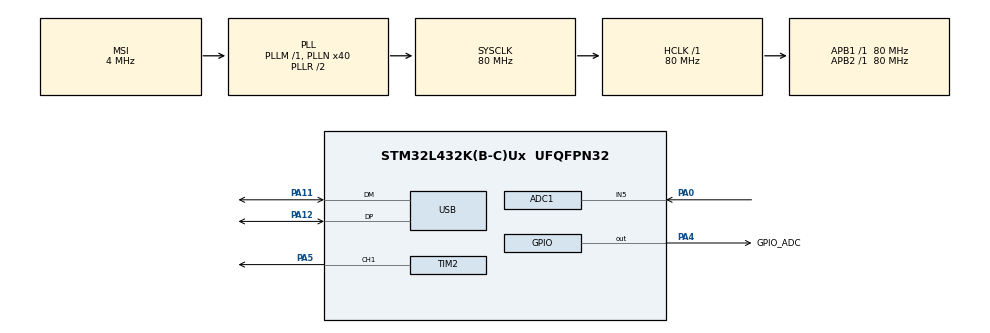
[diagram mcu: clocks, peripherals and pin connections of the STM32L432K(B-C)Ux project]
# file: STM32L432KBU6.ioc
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ADC1.Channel-0\#ChannelRegularConversion=ADC_CHANNEL_5
ADC1.ExternalTrigConv=ADC_EXTERNALTRIG_T2_TRGO
ADC1.ExternalTrigConvEdge=ADC_EXTERNALTRIGCONVEDGE_RISINGFALLING
ADC1.NbrOfConversionFlag=1
ADC1.OffsetNumber-0\#ChannelRegularConversion=ADC_OFFSET_NONE
ADC1.Rank-0\#ChannelRegularConversion=1
ADC1.SamplingTime-0\#ChannelRegularConversion=ADC_SAMPLETIME_2CYCLES_5
ADC1.master=1
Dma.ADC1.0.Direction=DMA_PERIPH_TO_MEMORY
Dma.ADC1.0.Instance=DMA1_Channel1
Dma.ADC1.0.MemDataAlignment=DMA_MDATAALIGN_HALFWORD
Dma.ADC1.0.MemInc=DMA_MINC_ENABLE
Dma.ADC1.0.Mode=DMA_CIRCULAR
Dma.ADC1.0.PeriphDataAlignment=DMA_PDATAALIGN_HALFWORD
Dma.ADC1.0.PeriphInc=DMA_PINC_DISABLE
Dma.ADC1.0.Priority=DMA_PRIORITY_LOW
Dma.Request0=ADC1
Mcu.Family=STM32L4
Mcu.Name=STM32L432K(B-C)Ux
Mcu.Package=UFQFPN32
NVIC.DMA1_Channel1_IRQn=true\:0\:0\:false\:false\:true\:false\:true\:true
NVIC.PriorityGroup=NVIC_PRIORITYGROUP_4
NVIC.USB_IRQn=true\:0\:0\:false\:false\:true\:false\:true\:true
PA0.Signal=ADCx_IN5
PA11.Mode=Device
PA11.Signal=USB_DM
PA12.Mode=Device
PA12.Signal=USB_DP
PA13\ (JTMS-SWDIO).Mode=Serial_Wire
PA13\ (JTMS-SWDIO).Signal=SYS_JTMS-SWDIO
PA14\ (JTCK-SWCLK).Mode=Serial_Wire
PA14\ (JTCK-SWCLK).Signal=SYS_JTCK-SWCLK
PA4.GPIO_Label=GPIO_ADC
PA4.Signal=GPIO_Output
PA5.Signal=S_TIM2_CH1
ProjectManager.HeapSize=0x200
ProjectManager.StackSize=0x400
ProjectManager.TargetToolchain=Makefile
RCC.ADCFreq_Value=48000000
RCC.AHBFreq_Value=80000000
RCC.APB1Freq_Value=80000000
RCC.APB1TimFreq_Value=80000000
RCC.APB2Freq_Value=80000000
RCC.APB2TimFreq_Value=80000000
RCC.CortexFreq_Value=80000000
RCC.HCLKFreq_Value=80000000
RCC.HSE_VALUE=8000000
RCC.HSI48_VALUE=48000000
RCC.HSI_VALUE=16000000
RCC.LSE_VALUE=32768
RCC.MSI_VALUE=4000000
RCC.PLLN=40
RCC.PLLSAI1N=24
RCC.SYSCLKFreq_VALUE=80000000
RCC.SYSCLKSource=RCC_SYSCLKSOURCE_PLLCLK
RCC.USBFreq_Value=48000000
RCC.VCOOutputFreq_Value=160000000
SH.ADCx_IN5.0=ADC1_IN5,IN5-Single-Ended
SH.S_TIM2_CH1.0=TIM2_CH1,Output Compare1 CH1
TIM2.Channel-Output\ Compare1\ CH1=TIM_CHANNEL_1
TIM2.OCMode_1=TIM_OCMODE_TOGGLE
TIM2.Period=800-1
TIM2.TIM_MasterOutputTrigger=TIM_TRGO_UPDATE
USB_DEVICE.CLASS_NAME_FS=CDC
USB_DEVICE.VirtualMode=Cdc
USB_DEVICE.VirtualModeFS=Cdc_FS
VP_TIM2_VS_ClockSourceINT.Mode=Internal
VP_USB_DEVICE_VS_USB_DEVICE_CDC_FS.Mode=CDC_FS
board=custom

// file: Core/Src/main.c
/* USER CODE BEGIN Header */
/**
  ******************************************************************************
  * @file           : main.c
  * @brief          : Main program body
  ******************************************************************************
  * @attention
  *
  * Copyright (c) 2024 STMicroelectronics.
  * All rights reserved.
  *
  * This software is licensed under terms that can be found in the LICENSE file
  * in the root directory of this software component.
  * If no LICENSE file comes with this software, it is provided AS-IS.
  *
  ******************************************************************************
  */
/* USER CODE END Header */
#include "main.h"
#include "usb_device.h"

/* USER CODE BEGIN Includes */
#include "usbd_cdc_if.h"
/* USER CODE END Includes */

/* USER CODE BEGIN PD */
#define DMABUFLEN 1024
/* USER CODE END PD */

ADC_HandleTypeDef hadc1;
DMA_HandleTypeDef hdma_adc1;

TIM_HandleTypeDef htim2;

/* USER CODE BEGIN PV */
uint16_t dmaBuffer[DMABUFLEN];
uint8_t dataReady = 0;
uint8_t dataHalfReady = 0;
uint16_t *bufPointer;
/* USER CODE END PV */

void SystemClock_Config(void);
void PeriphCommonClock_Config(void);
static void MX_GPIO_Init(void);
static void MX_DMA_Init(void);
static void MX_ADC1_Init(void);
static void MX_TIM2_Init(void);

int main(void)
{

  /* MCU Configuration--------------------------------------------------------*/

  /* Reset of all peripherals, Initializes the Flash interface and the Systick. */
  HAL_Init();

  /* Configure the system clock */
  SystemClock_Config();

/* Configure the peripherals common clocks */
  PeriphCommonClock_Config();

  /* Initialize all configured peripherals */
  MX_GPIO_Init();
  MX_DMA_Init();
  MX_ADC1_Init();
  MX_USB_DEVICE_Init();
  MX_TIM2_Init();
  /* USER CODE BEGIN 2 */
  HAL_TIM_Base_Start(&htim2);
  HAL_TIM_OC_Start(&htim2, TIM_CHANNEL_2);

  HAL_ADC_Start_DMA(&hadc1, (uint32_t *)dmaBuffer, DMABUFLEN);
  /* USER CODE END 2 */

  /* Infinite loop */
  while (1)
  {

    /* USER CODE BEGIN 3 */
    if (dataReady == 1)
    {
      CDC_Transmit_FS((uint8_t *)bufPointer, 1024);
      dataReady = 0;
    }
  }
  /* USER CODE END 3 */
}

void SystemClock_Config(void)
{
  RCC_OscInitTypeDef RCC_OscInitStruct = {0};
  RCC_ClkInitTypeDef RCC_ClkInitStruct = {0};

  /** Configure the main internal regulator output voltage
  */
  if (HAL_PWREx_ControlVoltageScaling(PWR_REGULATOR_VOLTAGE_SCALE1) != HAL_OK)
  {
    Error_Handler();
  }

  /** Initializes the RCC Oscillators according to the specified parameters
  * in the RCC_OscInitTypeDef structure.
  */
  RCC_OscInitStruct.OscillatorType = RCC_OSCILLATORTYPE_MSI;
  RCC_OscInitStruct.MSIState = RCC_MSI_ON;
  RCC_OscInitStruct.MSICalibrationValue = 0;
  RCC_OscInitStruct.MSIClockRange = RCC_MSIRANGE_6;
  RCC_OscInitStruct.PLL.PLLState = RCC_PLL_ON;
  RCC_OscInitStruct.PLL.PLLSource = RCC_PLLSOURCE_MSI;
  RCC_OscInitStruct.PLL.PLLM = 1;
  RCC_OscInitStruct.PLL.PLLN = 40;
  RCC_OscInitStruct.PLL.PLLP = RCC_PLLP_DIV7;
  RCC_OscInitStruct.PLL.PLLQ = RCC_PLLQ_DIV2;
  RCC_OscInitStruct.PLL.PLLR = RCC_PLLR_DIV2;
  if (HAL_RCC_OscConfig(&RCC_OscInitStruct) != HAL_OK)
  {
    Error_Handler();
  }

  /** Initializes the CPU, AHB and APB buses clocks
  */
  RCC_ClkInitStruct.ClockType = RCC_CLOCKTYPE_HCLK|RCC_CLOCKTYPE_SYSCLK
                              |RCC_CLOCKTYPE_PCLK1|RCC_CLOCKTYPE_PCLK2;
  RCC_ClkInitStruct.SYSCLKSource = RCC_SYSCLKSOURCE_PLLCLK;
  RCC_ClkInitStruct.AHBCLKDivider = RCC_SYSCLK_DIV1;
  RCC_ClkInitStruct.APB1CLKDivider = RCC_HCLK_DIV1;
  RCC_ClkInitStruct.APB2CLKDivider = RCC_HCLK_DIV1;

  if (HAL_RCC_ClockConfig(&RCC_ClkInitStruct, FLASH_LATENCY_4) != HAL_OK)
  {
    Error_Handler();
  }
}

void PeriphCommonClock_Config(void)
{
  RCC_PeriphCLKInitTypeDef PeriphClkInit = {0};

  /** Initializes the peripherals clock
  */
  PeriphClkInit.PeriphClockSelection = RCC_PERIPHCLK_USB|RCC_PERIPHCLK_ADC;
  PeriphClkInit.AdcClockSelection = RCC_ADCCLKSOURCE_PLLSAI1;
  PeriphClkInit.UsbClockSelection = RCC_USBCLKSOURCE_PLLSAI1;
  PeriphClkInit.PLLSAI1.PLLSAI1Source = RCC_PLLSOURCE_MSI;
  PeriphClkInit.PLLSAI1.PLLSAI1M = 1;
  PeriphClkInit.PLLSAI1.PLLSAI1N = 24;
  PeriphClkInit.PLLSAI1.PLLSAI1P = RCC_PLLP_DIV7;
  PeriphClkInit.PLLSAI1.PLLSAI1Q = RCC_PLLQ_DIV2;
  PeriphClkInit.PLLSAI1.PLLSAI1R = RCC_PLLR_DIV2;
  PeriphClkInit.PLLSAI1.PLLSAI1ClockOut = RCC_PLLSAI1_48M2CLK|RCC_PLLSAI1_ADC1CLK;
  if (HAL_RCCEx_PeriphCLKConfig(&PeriphClkInit) != HAL_OK)
  {
    Error_Handler();
  }
}

static void MX_ADC1_Init(void)
{

  ADC_ChannelConfTypeDef sConfig = {0};

  /** Common config
  */
  hadc1.Instance = ADC1;
  hadc1.Init.ClockPrescaler = ADC_CLOCK_ASYNC_DIV1;
  hadc1.Init.Resolution = ADC_RESOLUTION_12B;
  hadc1.Init.DataAlign = ADC_DATAALIGN_RIGHT;
  hadc1.Init.ScanConvMode = ADC_SCAN_DISABLE;
  hadc1.Init.EOCSelection = ADC_EOC_SINGLE_CONV;
  hadc1.Init.LowPowerAutoWait = DISABLE;
  hadc1.Init.ContinuousConvMode = DISABLE;
  hadc1.Init.NbrOfConversion = 1;
  hadc1.Init.DiscontinuousConvMode = DISABLE;
  hadc1.Init.ExternalTrigConv = ADC_EXTERNALTRIG_T2_TRGO;
  hadc1.Init.ExternalTrigConvEdge = ADC_EXTERNALTRIGCONVEDGE_RISINGFALLING;
  hadc1.Init.DMAContinuousRequests = DISABLE;
  hadc1.Init.Overrun = ADC_OVR_DATA_PRESERVED;
  hadc1.Init.OversamplingMode = DISABLE;
  if (HAL_ADC_Init(&hadc1) != HAL_OK)
  {
    Error_Handler();
  }

  /** Configure Regular Channel
  */
  sConfig.Channel = ADC_CHANNEL_5;
  sConfig.Rank = ADC_REGULAR_RANK_1;
  sConfig.SamplingTime = ADC_SAMPLETIME_2CYCLES_5;
  sConfig.SingleDiff = ADC_SINGLE_ENDED;
  sConfig.OffsetNumber = ADC_OFFSET_NONE;
  sConfig.Offset = 0;
  if (HAL_ADC_ConfigChannel(&hadc1, &sConfig) != HAL_OK)
  {
    Error_Handler();
  }

}

static void MX_TIM2_Init(void)
{

  TIM_ClockConfigTypeDef sClockSourceConfig = {0};
  TIM_MasterConfigTypeDef sMasterConfig = {0};
  TIM_OC_InitTypeDef sConfigOC = {0};

  htim2.Instance = TIM2;
  htim2.Init.Prescaler = 0;
  htim2.Init.CounterMode = TIM_COUNTERMODE_UP;
  htim2.Init.Period = 800-1;
  htim2.Init.ClockDivision = TIM_CLOCKDIVISION_DIV1;
  htim2.Init.AutoReloadPreload = TIM_AUTORELOAD_PRELOAD_DISABLE;
  if (HAL_TIM_Base_Init(&htim2) != HAL_OK)
  {
    Error_Handler();
  }
  sClockSourceConfig.ClockSource = TIM_CLOCKSOURCE_INTERNAL;
  if (HAL_TIM_ConfigClockSource(&htim2, &sClockSourceConfig) != HAL_OK)
  {
    Error_Handler();
  }
  if (HAL_TIM_OC_Init(&htim2) != HAL_OK)
  {
    Error_Handler();
  }
  sMasterConfig.MasterOutputTrigger = TIM_TRGO_UPDATE;
  sMasterConfig.MasterSlaveMode = TIM_MASTERSLAVEMODE_DISABLE;
  if (HAL_TIMEx_MasterConfigSynchronization(&htim2, &sMasterConfig) != HAL_OK)
  {
    Error_Handler();
  }
  sConfigOC.OCMode = TIM_OCMODE_TOGGLE;
  sConfigOC.Pulse = 0;
  sConfigOC.OCPolarity = TIM_OCPOLARITY_HIGH;
  sConfigOC.OCFastMode = TIM_OCFAST_DISABLE;
  if (HAL_TIM_OC_ConfigChannel(&htim2, &sConfigOC, TIM_CHANNEL_1) != HAL_OK)
  {
    Error_Handler();
  }
  HAL_TIM_MspPostInit(&htim2);

}

static void MX_DMA_Init(void)
{

  /* DMA controller clock enable */
  __HAL_RCC_DMA1_CLK_ENABLE();

  /* DMA interrupt init */
  /* DMA1_Channel1_IRQn interrupt configuration */
  HAL_NVIC_SetPriority(DMA1_Channel1_IRQn, 0, 0);
  HAL_NVIC_EnableIRQ(DMA1_Channel1_IRQn);

}

static void MX_GPIO_Init(void)
{
  GPIO_InitTypeDef GPIO_InitStruct = {0};

  /* GPIO Ports Clock Enable */
  __HAL_RCC_GPIOA_CLK_ENABLE();

  /*Configure GPIO pin Output Level */
  HAL_GPIO_WritePin(GPIO_ADC_GPIO_Port, GPIO_ADC_Pin, GPIO_PIN_RESET);

  /*Configure GPIO pin : GPIO_ADC_Pin */
  GPIO_InitStruct.Pin = GPIO_ADC_Pin;
  GPIO_InitStruct.Mode = GPIO_MODE_OUTPUT_PP;
  GPIO_InitStruct.Pull = GPIO_NOPULL;
  GPIO_InitStruct.Speed = GPIO_SPEED_FREQ_LOW;
  HAL_GPIO_Init(GPIO_ADC_GPIO_Port, &GPIO_InitStruct);

}

/* USER CODE BEGIN 4 */
void HAL_ADC_ConvCpltCallback(ADC_HandleTypeDef* hadc)
{
  bufPointer = &dmaBuffer[DMABUFLEN/2];
  dataReady = 1;
  HAL_ADC_Start_DMA(&hadc1, (uint32_t *)dmaBuffer, DMABUFLEN);
  HAL_GPIO_TogglePin(GPIO_ADC_GPIO_Port, GPIO_ADC_Pin);

}

void HAL_ADC_ConvHalfCpltCallback(ADC_HandleTypeDef* hadc)
{
  bufPointer = &dmaBuffer[0];
  dataReady = 1;

}
/* USER CODE END 4 */

void Error_Handler(void)
{
  __disable_irq();
  while (1)
  {
  }
}
